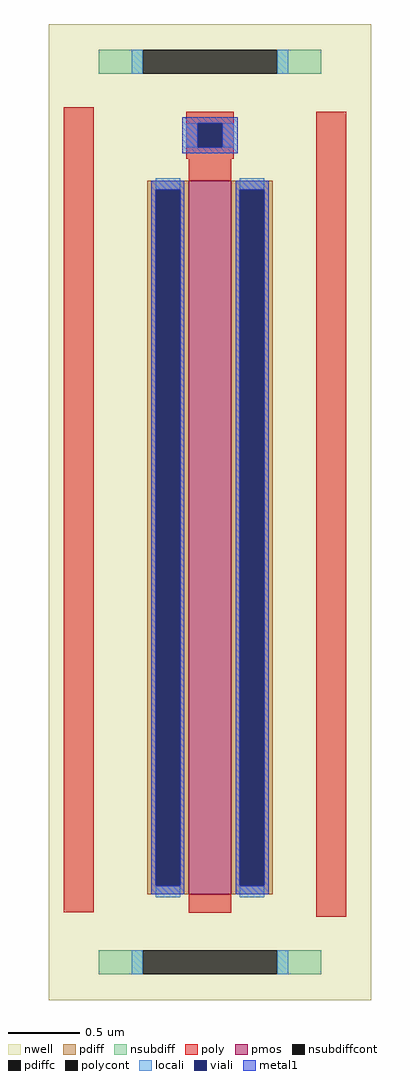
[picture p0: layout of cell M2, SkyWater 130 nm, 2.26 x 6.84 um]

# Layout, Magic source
magic
tech sky130B
magscale 1 2
<< nwell >>
rect -226 -684 226 684
<< pmos >>
rect -30 -536 30 464
<< pdiff >>
rect -88 452 -30 464
rect -88 -524 -76 452
rect -42 -524 -30 452
rect -88 -536 -30 -524
rect 30 452 88 464
rect 30 -524 42 452
rect 76 -524 88 452
rect 30 -536 88 -524
<< pdiffc >>
rect -76 -524 -42 452
rect 42 -524 76 452
<< nsubdiff >>
rect -156 614 -94 648
rect 94 614 156 648
rect -156 -648 -94 -614
rect 94 -648 156 -614
<< nsubdiffcont >>
rect -94 614 94 648
rect -94 -648 94 -614
<< poly >>
rect -205 -561 -163 567
rect -33 545 33 561
rect -33 511 -17 545
rect 17 511 33 545
rect -33 495 33 511
rect -30 464 30 495
rect -30 -562 30 -536
rect 149 -567 191 561
<< polycont >>
rect -17 511 17 545
<< locali >>
rect -110 614 -94 648
rect 94 614 110 648
rect -33 511 -17 545
rect 17 511 33 545
rect -76 452 -42 468
rect -76 -540 -42 -524
rect 42 452 76 468
rect 42 -540 76 -524
rect -110 -648 -94 -614
rect 94 -648 110 -614
<< viali >>
rect -17 511 17 545
rect -76 -524 -42 452
rect 42 -524 76 452
<< metal1 >>
rect -39 545 39 553
rect -39 511 -17 545
rect 17 511 39 545
rect -39 503 39 511
rect -82 452 -36 464
rect -82 -524 -76 452
rect -42 -524 -36 452
rect -82 -536 -36 -524
rect 36 452 82 464
rect 36 -524 42 452
rect 76 -524 82 452
rect 36 -536 82 -524
<< properties >>
string FIXED_BBOX -173 -631 173 631
string gencell sky130_fd_pr__pfet_01v8
string library sky130
string parameters w 5 l .3 m 1 nf 1 diffcov 100 polycov 100 guard 1 glc 0 grc 0 gtc 1 gbc 1 tbcov 100 rlcov 100 topc 1 botc 0 poverlap 0 doverlap 1 lmin 0.15 wmin 0.42 compatible {sky130_fd_pr__pfet_01v8  sky130_fd_pr__pfet_01v8_lvt sky130_fd_pr__pfet_01v8_hvt  sky130_fd_pr__pfet_g5v0d10v5} full_metal 0 viasrc 100 viadrn 100 viagate 100 viagb 0 viagr 0 viagl 0 viagt 0
<< end >>
